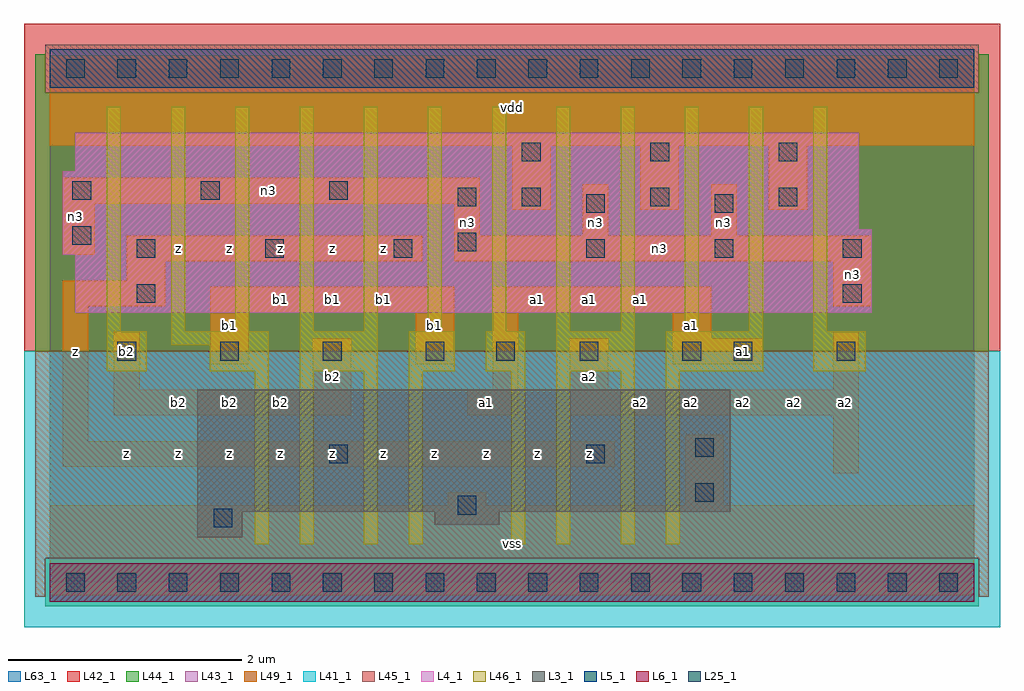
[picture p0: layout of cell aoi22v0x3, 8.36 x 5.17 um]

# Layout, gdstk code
import gdstk
lib = gdstk.Library(unit=1e-6, precision=1e-09)
def R(c, l, rs):  # rectangles x0, y0, x1, y1
    for r in rs: c.add(gdstk.rectangle(r[:2], r[2:], *l))
def A(c, l, x, y, w, h, nx, ny, dx, dy):  # array of equal rectangles
    R(c, l, [(x+i*dx, y+j*dy, x+i*dx+w, y+j*dy+h) for i in range(nx) for j in range(ny)])
L3_1 = (3, 1)
L4_1 = (4, 1)
L5_1 = (5, 1)
L6_1 = (6, 1)
L25_1 = (25, 1)
L41_1 = (41, 1)
L42_1 = (42, 1)
L43_1 = (43, 1)
L44_1 = (44, 1)
L45_1 = (45, 1)
L46_1 = (46, 1)
L49_1 = (49, 1)
L63_1 = (63, 1)

aoi22v0x3 = lib.new_cell('aoi22v0x3')
R(aoi22v0x3, L3_1, [(1.265,0.385,1.65,0.605), (3.3,0.495,3.85,0.605), (1.265,0.605,5.83,1.65)])
R(aoi22v0x3, L4_1, [(0.22,2.31,7.04,2.805), (0.11,2.805,7.04,3.025), (0.11,3.025,6.93,3.52), (0.22,3.52,6.93,3.85)])
R(aoi22v0x3, L5_1, [(0,4.235,7.92,4.565)])
R(aoi22v0x3, L6_1, [(0,-0.165,7.92,0.165)])
A(aoi22v0x3, L25_1, 0.14, -0.08, 0.16, 0.16, 18, 2, 0.44, 4.4)
A(aoi22v0x3, L25_1, 0.58, 1.9, 0.16, 0.16, 4, 1, 0.88, 0)
A(aoi22v0x3, L25_1, 0.745, 2.78, 0.16, 0.16, 3, 1, 1.1, 0)
A(aoi22v0x3, L25_1, 4.595, 2.78, 0.16, 0.16, 3, 1, 1.1, 0)
A(aoi22v0x3, L25_1, 4.045, 3.22, 0.16, 0.16, 3, 2, 1.1, 0.385)
A(aoi22v0x3, L25_1, 0.195, 3.275, 0.16, 0.16, 3, 1, 1.1, 0)
R(aoi22v0x3, L25_1, [(1.405,0.47,1.565,0.63), (3.495,0.58,3.655,0.74), (5.53,0.69,5.69,0.85), (2.395,1.02,2.555,1.18), (4.595,1.02,4.755,1.18), (5.53,1.075,5.69,1.235), (3.825,1.9,3.985,2.06), (4.54,1.9,4.7,2.06), (5.42,1.9,5.58,2.06), (5.86,1.9,6.02,2.06), (6.74,1.9,6.9,2.06), (0.745,2.395,0.905,2.555), (6.795,2.395,6.955,2.555), (3.495,2.835,3.655,2.995), (0.195,2.89,0.355,3.05), (4.595,3.165,4.755,3.325), (5.695,3.165,5.855,3.325), (3.495,3.22,3.655,3.38)])
R(aoi22v0x3, L41_1, [(-0.22,-0.385,8.14,1.98)])
R(aoi22v0x3, L42_1, [(-0.22,1.98,8.14,4.785)])
R(aoi22v0x3, L43_1, [(0,-0.165,7.92,0.165), (1.265,0.385,1.65,0.605), (3.3,0.495,3.85,0.605), (1.265,0.605,5.83,1.65), (0.22,2.31,7.04,2.805), (0.11,2.805,7.04,3.025), (0.11,3.025,6.93,3.52), (0.22,3.52,6.93,3.85), (0,4.235,7.92,4.565)])
R(aoi22v0x3, L44_1, [(-0.04,-0.205,7.96,0.205), (-0.125,1.98,8.045,4.195), (-0.125,4.195,-0.04,4.525), (7.96,4.195,8.045,4.525)])
R(aoi22v0x3, L45_1, [(-0.125,-0.125,-0.04,0.205), (7.96,-0.125,8.045,0.205), (-0.125,0.205,8.045,1.98), (-0.04,4.195,7.96,4.605)])
A(aoi22v0x3, L46_1, 0.49, 2.15, 0.12, 1.925, 12, 1, 0.55, 0)
R(aoi22v0x3, L46_1, [(1.755,0.325,1.875,1.81), (2.14,0.325,2.26,1.81), (2.69,0.325,2.81,1.81), (3.075,0.325,3.195,1.81), (3.955,0.325,4.075,1.81), (4.34,0.325,4.46,1.81), (4.89,0.325,5.01,1.81), (5.275,0.325,5.395,1.81), (0.49,1.81,0.83,2.15), (1.37,1.81,1.875,2.03), (2.14,1.81,2.81,2.15), (3.075,1.81,3.47,2.15), (3.735,1.81,4.075,2.15), (4.34,1.81,5.01,2.15), (5.275,1.81,6.11,2.15), (6.54,1.81,6.99,2.15), (1.04,2.03,1.875,2.15)])
A(aoi22v0x3, L49_1, 3.96, 3.19, 0.33, 0.55, 3, 1, 1.1, 0)
R(aoi22v0x3, L49_1, [(0,-0.11,7.92,0.66), (3.41,0.66,3.74,0.77), (5.445,0.66,5.775,1.265), (6.71,0.935,6.93,1.43), (0.11,0.99,4.84,1.21), (0.11,1.21,0.33,2.365), (0.55,1.43,2.585,1.65), (3.575,1.43,4.015,1.65), (4.455,1.43,6.93,1.65), (0.55,1.65,0.77,2.145), (2.255,1.65,2.585,2.09), (3.795,1.65,4.015,2.31), (4.455,1.65,4.785,2.09), (6.71,1.65,6.93,2.145), (1.375,1.87,1.705,2.31), (3.135,1.87,3.465,2.31), (5.335,1.87,6.105,2.09), (5.335,2.09,5.665,2.31), (1.375,2.31,3.465,2.53), (3.795,2.31,5.665,2.53), (0.11,2.365,0.99,2.585), (6.71,2.365,7.04,2.75), (0.66,2.585,0.99,2.75), (0.66,2.75,3.19,2.97), (3.465,2.75,7.04,2.97), (0.11,2.805,0.385,3.245), (3.465,2.97,3.685,3.245), (4.565,2.97,4.785,3.41), (5.665,2.97,5.885,3.41), (0.11,3.245,3.685,3.465), (0,3.74,7.92,4.51)])
R(aoi22v0x3, L63_1, [(0,0,7.92,4.4)])
aoi22v0x3.add(gdstk.Label('z', (0.66,1.1), layer=49, texttype=1))
aoi22v0x3.add(gdstk.Label('b2', (0.66,1.98), layer=49, texttype=1))
aoi22v0x3.add(gdstk.Label('z', (0.22,1.98), layer=49, texttype=1))
aoi22v0x3.add(gdstk.Label('n3', (0.22,3.135), layer=49, texttype=1))
aoi22v0x3.add(gdstk.Label('z', (1.1,1.1), layer=49, texttype=1))
aoi22v0x3.add(gdstk.Label('z', (1.98,1.1), layer=49, texttype=1))
aoi22v0x3.add(gdstk.Label('z', (2.42,1.1), layer=49, texttype=1))
aoi22v0x3.add(gdstk.Label('z', (1.54,1.1), layer=49, texttype=1))
aoi22v0x3.add(gdstk.Label('b2', (1.54,1.54), layer=49, texttype=1))
aoi22v0x3.add(gdstk.Label('b2', (1.98,1.54), layer=49, texttype=1))
aoi22v0x3.add(gdstk.Label('b2', (1.1,1.54), layer=49, texttype=1))
aoi22v0x3.add(gdstk.Label('b2', (2.42,1.76), layer=49, texttype=1))
aoi22v0x3.add(gdstk.Label('b1', (1.54,2.2), layer=49, texttype=1))
aoi22v0x3.add(gdstk.Label('b1', (2.42,2.42), layer=49, texttype=1))
aoi22v0x3.add(gdstk.Label('b1', (1.98,2.42), layer=49, texttype=1))
aoi22v0x3.add(gdstk.Label('z', (1.1,2.86), layer=49, texttype=1))
aoi22v0x3.add(gdstk.Label('z', (1.54,2.86), layer=49, texttype=1))
aoi22v0x3.add(gdstk.Label('z', (2.42,2.86), layer=49, texttype=1))
aoi22v0x3.add(gdstk.Label('z', (1.98,2.86), layer=49, texttype=1))
aoi22v0x3.add(gdstk.Label('z', (3.74,1.1), layer=49, texttype=1))
aoi22v0x3.add(gdstk.Label('z', (3.3,1.1), layer=49, texttype=1))
aoi22v0x3.add(gdstk.Label('z', (2.86,1.1), layer=49, texttype=1))
aoi22v0x3.add(gdstk.Label('a1', (3.74,1.54), layer=49, texttype=1))
aoi22v0x3.add(gdstk.Label('b1', (2.86,2.42), layer=49, texttype=1))
aoi22v0x3.add(gdstk.Label('b1', (3.3,2.2), layer=49, texttype=1))
aoi22v0x3.add(gdstk.Label('z', (2.86,2.86), layer=49, texttype=1))
aoi22v0x3.add(gdstk.Label('n3', (3.575,3.08), layer=49, texttype=1))
aoi22v0x3.add(gdstk.Label('n3', (1.87,3.355), layer=49, texttype=1))
aoi22v0x3.add(gdstk.Label('vss', (3.96,0.33), layer=49, texttype=1))
aoi22v0x3.add(gdstk.Label('z', (4.18,1.1), layer=49, texttype=1))
aoi22v0x3.add(gdstk.Label('z', (4.62,1.1), layer=49, texttype=1))
aoi22v0x3.add(gdstk.Label('a2', (5.06,1.54), layer=49, texttype=1))
aoi22v0x3.add(gdstk.Label('a2', (4.62,1.76), layer=49, texttype=1))
aoi22v0x3.add(gdstk.Label('a1', (4.62,2.42), layer=49, texttype=1))
aoi22v0x3.add(gdstk.Label('a1', (5.06,2.42), layer=49, texttype=1))
aoi22v0x3.add(gdstk.Label('a1', (4.18,2.42), layer=49, texttype=1))
aoi22v0x3.add(gdstk.Label('n3', (4.675,3.08), layer=49, texttype=1))
aoi22v0x3.add(gdstk.Label('vdd', (3.96,4.07), layer=49, texttype=1))
aoi22v0x3.add(gdstk.Label('a2', (5.94,1.54), layer=49, texttype=1))
aoi22v0x3.add(gdstk.Label('a2', (6.38,1.54), layer=49, texttype=1))
aoi22v0x3.add(gdstk.Label('a2', (5.5,1.54), layer=49, texttype=1))
aoi22v0x3.add(gdstk.Label('a1', (5.94,1.98), layer=49, texttype=1))
aoi22v0x3.add(gdstk.Label('a1', (5.5,2.2), layer=49, texttype=1))
aoi22v0x3.add(gdstk.Label('n3', (5.775,3.08), layer=49, texttype=1))
aoi22v0x3.add(gdstk.Label('a2', (6.82,1.54), layer=49, texttype=1))
aoi22v0x3.add(gdstk.Label('n3', (6.875,2.64), layer=49, texttype=1))
aoi22v0x3.add(gdstk.Label('n3', (5.225,2.86), layer=49, texttype=1))

lib.write_gds('aoi22v0x3.gds')
